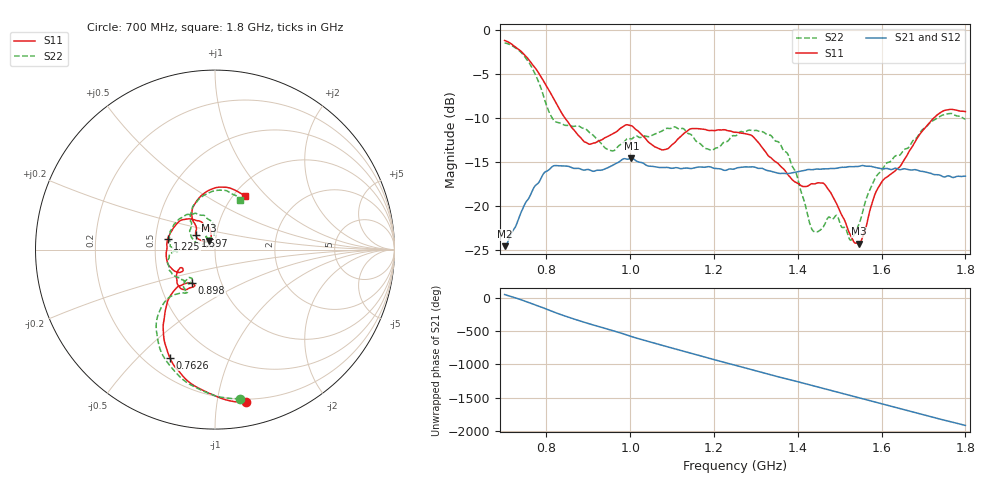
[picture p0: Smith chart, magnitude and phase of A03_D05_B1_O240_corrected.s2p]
! Created with skrf 1.9.0 (http://scikit-rf.org).
# Hz S RI R 50.0
!freq ReS11 ImS11 ReS21 ImS21 ReS12 ImS12 ReS22 ImS22
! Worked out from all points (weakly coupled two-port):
!   1601 points, 700 MHz to 1.8 GHz, reference 50 ohm
!   highest |S21| = -14.61 dB at 1.002 GHz (marker M1); lowest = -24.6 dB at 700 MHz (marker M2)
!   lowest |S11| = -24.3 dB at 1.546 GHz (marker M3), VSWR 1.13, Z = 46.5 + j4.7 ohm
!   |S11| at or under -10 dB: 843.8 MHz to 1.725 GHz (881.4 MHz wide, 68.6 % of centre)
!   |S22| runs from -23.9 to -1.5 dB; largest |S21 - S12| = 0.0036
!   S11 on the Smith chart (normalised r, x): 700 MHz: 0.17, -1.21; 762.6 MHz: 0.30, -0.62; 898 MHz: 0.73, -0.29; 1.225 GHz: 0.58, +0.07; 1.597 GHz: 0.80, +0.13; 1.8 GHz: 1.12, +0.76
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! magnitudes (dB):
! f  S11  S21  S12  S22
! 700 MHz  -1.2  -24.6  -24.3  -1.5
! 762.6 MHz  -3.7  -18.7  -18.6  -4.1
! 816.9 MHz  -7.8  -15.5  -15.6  -10.2
! 883.6 MHz  -12.4  -15.9  -15.8  -11.1
! 898 MHz  -12.9  -15.9  -15.9  -11.4
! 954.4 MHz  -11.9  -15.5  -15.5  -13.7
! 1.002 GHz  -10.9  -14.6  -14.7  -12.4
! 1.067 GHz  -13.5  -15.6  -15.6  -11.7
! 1.145 GHz  -11.2  -15.8  -15.8  -11.9
! 1.225 GHz  -11.4  -16.0  -15.9  -12.7
! 1.25 GHz  -11.6  -15.8  -15.7  -12.0
! 1.356 GHz  -15.3  -16.3  -16.2  -12.8
! 1.396 GHz  -17.3  -16.2  -16.2  -16.3
! 1.434 GHz  -17.5  -15.9  -15.9  -22.6
! 1.467 GHz  -17.8  -15.8  -15.8  -21.8
! 1.493 GHz  -19.8  -15.7  -15.7  -21.1
! 1.526 GHz  -23.4  -15.5  -15.5  -23.9
! 1.546 GHz  -24.3  -15.5  -15.5  -22.0
! 1.597 GHz  -17.6  -15.7  -15.7  -16.2
! 1.617 GHz  -16.6  -15.8  -15.8  -15.0
! 1.732 GHz  -9.7  -16.5  -16.5  -10.1
! 1.8 GHz  -9.3  -16.6  -16.6  -10.1
